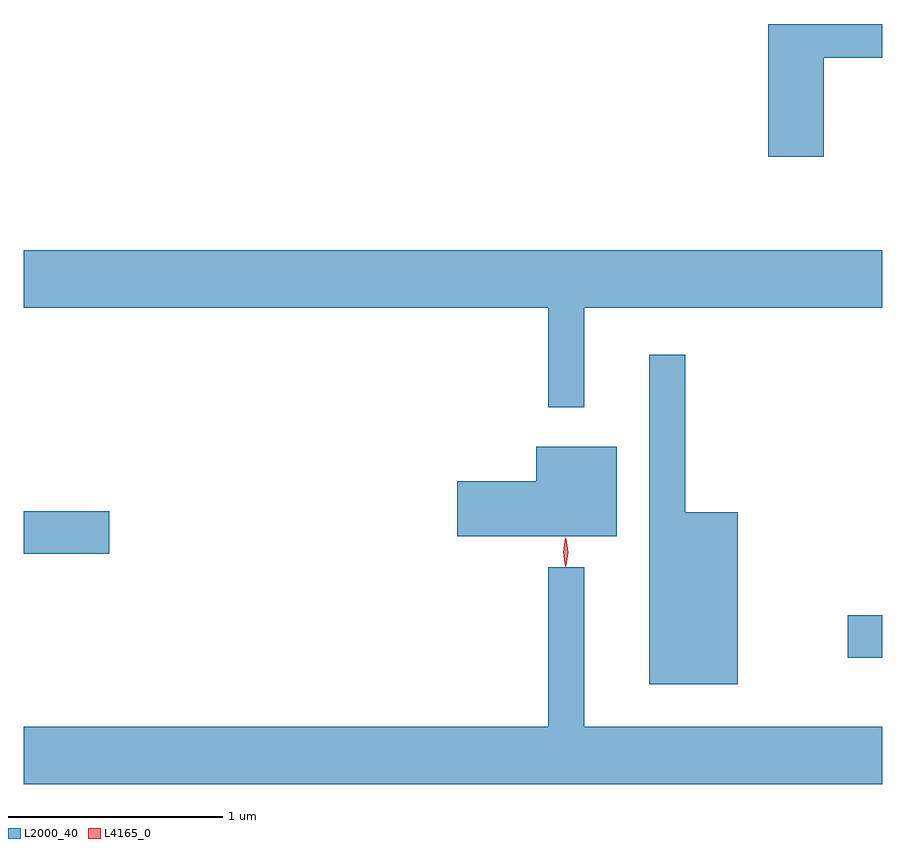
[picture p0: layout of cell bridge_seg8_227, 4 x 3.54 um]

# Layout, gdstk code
import gdstk
lib = gdstk.Library(unit=1e-6, precision=1e-09)
def R(c, l, rs):  # rectangles x0, y0, x1, y1
    for r in rs: c.add(gdstk.rectangle(r[:2], r[2:], *l))
def P(c, l, *ps):  # polygons
    for p in ps: c.add(gdstk.Polygon(p, *l))
L2000_40 = (2000, 40)
L4165_0 = (4165, 0)

bridge_seg8_227 = lib.new_cell('bridge_seg8_227')
R(bridge_seg8_227, L2000_40, [(1202.796,1848.106,1202.957,1848.304), (1198.957,1848.591,1199.354,1848.789)])
P(bridge_seg8_227, L2000_40, [(1202.684,1850.901),(1202.957,1850.901),(1202.957,1851.059),(1202.426,1851.059),(1202.426,1850.441),(1202.684,1850.441)],
  [(1201.569,1849.736),(1202.957,1849.736),(1202.957,1850.004),(1198.957,1850.004),(1198.957,1849.736),(1201.401,1849.736),(1201.401,1849.273),(1201.569,1849.273)],
  [(1202.284,1848.784),(1202.039,1848.784),(1202.039,1849.518),(1201.871,1849.518),(1201.871,1847.981),(1202.284,1847.981)],
  [(1201.719,1849.089),(1201.346,1849.089),(1201.346,1848.929),(1200.976,1848.929),(1200.976,1848.671),(1201.719,1848.671)],
  [(1202.957,1847.784),(1201.569,1847.784),(1201.569,1848.528),(1201.401,1848.528),(1201.401,1847.784),(1198.957,1847.784),(1198.957,1847.517),(1202.957,1847.517)])
P(bridge_seg8_227, L4165_0, [(1201.482,1848.533),(1201.473,1848.596),(1201.482,1848.659),(1201.483,1848.66),(1201.484,1848.659),(1201.493,1848.596),(1201.484,1848.533),(1201.483,1848.533)],
  [(1201.48,1848.53),(1201.48,1848.53),(1201.47,1848.598),(1201.479,1848.665),(1201.479,1848.666),(1201.48,1848.665),(1201.49,1848.598),(1201.481,1848.53)])

lib.write_gds('bridge_seg8_227.gds')
